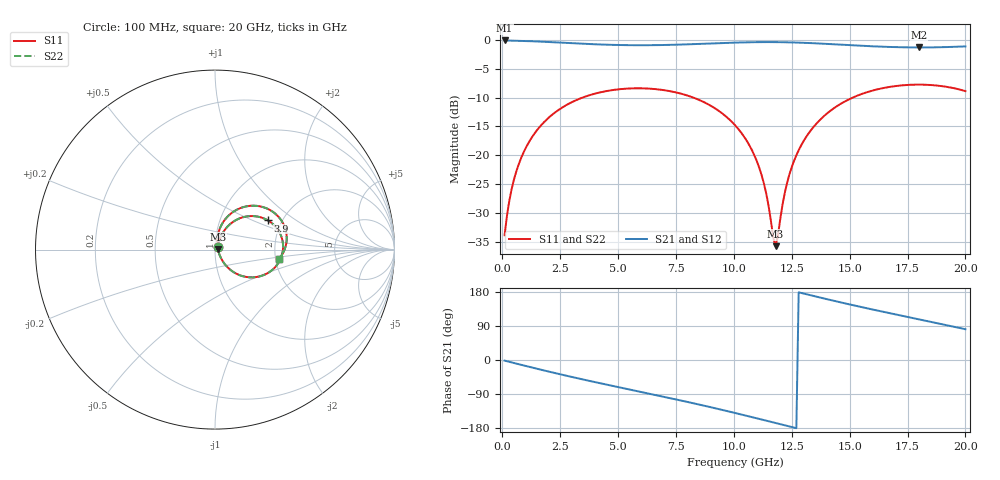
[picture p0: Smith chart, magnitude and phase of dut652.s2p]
! Touchstone file exported from HFSS 2026.1.0
!  File:  C:/ffzhzh/LocalFiles/Ansys_Project_Files/temp_train_TSV_RDL_652_1783129419_46604.aedt
!  Generated:  09:53:17 AM Jul  4, 2026
!  Design:  TSV_RDL
!  Project:  temp_train_TSV_RDL_652_1783129419_46604
! Variables:
!  h_bsmrdl = 2.83um
!  h_ox = 20um
!  h_rdl = 5um
!  h_sub = 69.56um
!  h_tmrdl = 5.49um
!  h_tsv = 69.56um
!  h_via = 3um
!  l_bsmrdl = 129.63um
!  l_sub = 4640.35um
!  l_tmrdl = 932.07um
!  m_sub = 200um
!  pitch = 40.75um
!  r_tsv = 14.55um
!  s_tmrdl = 10um
!  w_bsmrdl = 22.12um
!  w_sub = 500um
!  w_tmrdl = 18.94um
!  x_tsv_center1 = 941.54um
!  x_tsv_center2 = 1093.29um
!  x_tsv_center3 = 2044.3um
!  x_tsv_center4 = 2196.05um
!  x_tsv_center5 = 3147.06um
!  x_tsv_center6 = 3298.81um
# GHz S MA R 50.000000
! Terminal data exported
! Port[1] = TM_RDL1_1_T1
! Port[2] = TM_RDL5_1_T1
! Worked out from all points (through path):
!   200 points, 100 MHz to 20 GHz, reference 50 ohm
!   highest |S21| = -0.14 dB at 100 MHz (marker M1); lowest = -1.3 dB at 18 GHz (marker M2)
!   group delay of S21, straight-line fit = 38.9 ps
!   lowest |S11| = -35.7 dB at 11.8 GHz (marker M3), VSWR 1.03, Z = 51.6 + j0.356 ohm
!   |S11| at or under -10 dB: start of sweep to 3.474 GHz; 8.241 GHz to 15.14 GHz (6.903 GHz wide, 59 % of centre)
!   |S22| runs from -35.8 to -7.8 dB; largest |S21 - S12| = 1.7e-14
!   S11 on the Smith chart (normalised r, x): 100 MHz: 1.03, +0.03; 3.9 GHz: 1.70, +0.62; 20 GHz: 2.08, -0.25
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0.1  0.02042 37.0  0.984 -1.6  0.984 -1.6  0.02042 37.0
! Gamma 0 0 0 0
! Port Impedance 50 0 50 0
0.3  0.04025 59.2  0.9817 -4.8  0.9817 -4.8  0.04025 59.2
0.5  0.06141 64.4  0.9796 -7.9  0.9796 -7.9  0.06141 64.4
1.1  0.125 63.4  0.9717 -17.1  0.9717 -17.1  0.125 63.4
2.1  0.2201 52.0  0.9519 -31.9  0.9519 -31.9  0.2201 52.0
3.5  0.3177 33.9  0.9211 -51.6  0.9211 -51.6  0.3177 33.8
3.9  0.3372 28.7  0.9136 -57.0  0.9136 -57.0  0.3372 28.7
6.8  0.3703 -7.2  0.8975 -94.7  0.8975 -94.7  0.3703 -7.3
8.7  0.2891 -31.2  0.9215 -120.3  0.9215 -120.3  0.2891 -31.2
10.1  0.1778 -48.6  0.9432 -140.5  0.9432 -140.5  0.1779 -48.7
10.7  0.1192 -54.7  0.9495 -149.4  0.9495 -149.4  0.1193 -54.9
11.1  0.07789 -56.4  0.9519 -155.5  0.9519 -155.5  0.07789 -56.5
11.4  0.04669 -52.4  0.9526 -160.1  0.9526 -160.1  0.04665 -52.7
11.8  0.01643 12.1  0.952 -166.2  0.952 -166.2  0.01619 12.0
12.2  0.04742 74.9  0.9495 -172.3  0.9495 -172.3  0.0473 75.1
12.4  0.06843 78.3  0.9476 -175.4  0.9476 -175.4  0.06834 78.5
12.8  0.1108 77.8  0.9425 178.6  0.9425 178.6  0.1107 77.9
13.4  0.172 72.1  0.9322 169.6  0.9322 169.6  0.172 72.2
14.8  0.2927 54.9  0.901 149.4  0.901 149.4  0.2927 54.9
16.7  0.3898 31.4  0.8649 124.0  0.8649 124.0  0.3898 31.3
18  0.4087 15.7  0.8563 107.3  0.8563 107.3  0.4087 15.7
20  0.359 -8.3  0.8742 81.2  0.8742 81.2  0.359 -8.4
